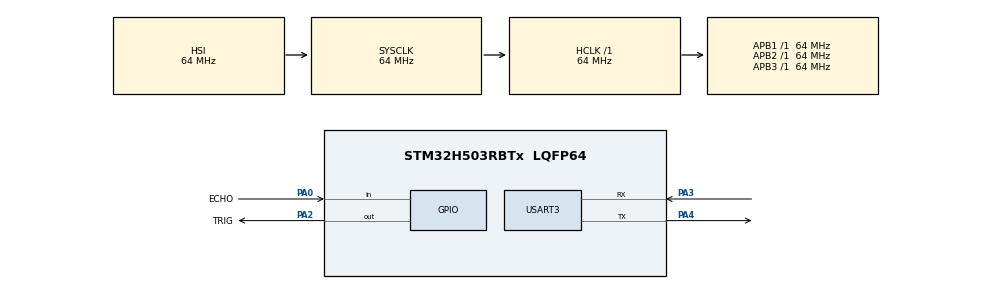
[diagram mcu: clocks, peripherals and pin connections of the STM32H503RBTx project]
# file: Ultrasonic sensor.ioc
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BOOTPATH.BootPathName=LEGACY
BOOTPATH.UserSelectedBootPath=LEGACY
Mcu.Family=STM32H5
Mcu.Name=STM32H503RBTx
Mcu.Package=LQFP64
NVIC.PriorityGroup=NVIC_PRIORITYGROUP_4
PA0.GPIO_Label=ECHO
PA0.Signal=GPIO_Input
PA2.GPIO_Label=TRIG
PA2.Signal=GPIO_Output
PA3.Mode=Asynchronous
PA3.Signal=USART3_RX
PA4.Mode=Asynchronous
PA4.Signal=USART3_TX
ProjectManager.HeapSize=0x200
ProjectManager.StackSize=0x400
ProjectManager.TargetToolchain=STM32CubeIDE
RCC.ADCFreq_Value=64000000
RCC.AHBFreq_Value=64000000
RCC.APB1Freq_Value=64000000
RCC.APB1TimFreq_Value=64000000
RCC.APB2Freq_Value=64000000
RCC.APB2TimFreq_Value=64000000
RCC.APB3Freq_Value=64000000
RCC.CSI_VALUE=4000000
RCC.CortexFreq_Value=64000000
RCC.EPOD_VALUE=4000000
RCC.HCLKFreq_Value=64000000
RCC.HSE_VALUE=24000000
RCC.HSI48_VALUE=48000000
RCC.HSIDiv=RCC_HSI_DIV1
RCC.HSI_VALUE=64000000
RCC.LSE_VALUE=32768
RCC.LSIRC_VALUE=32000
RCC.PLLN=32
RCC.SYSCLKFreq_VALUE=64000000
RCC.USBFreq_Value=48000000
RCC.VCOOutputFreq_Value=128000000
TIM3.Prescaler=64 -1
USART3.VirtualMode-Asynchronous=VM_ASYNC
VP_BOOTPATH_VS_BOOTPATH.Mode=BP_Activate
VP_CORTEX_M33_NS_VS_Hclk.Mode=Hclk_Mode
VP_MEMORYMAP_VS_MEMORYMAP.Mode=CurAppReg
VP_PWR_VS_DBSignals.Mode=DisableDeadBatterySignals
VP_PWR_VS_LPOM.Mode=PowerOptimisation
VP_PWR_VS_SECSignals.Mode=Security/Privilege
VP_TIM3_VS_ClockSourceINT.Mode=Internal
board=NUCLEO-H503RB

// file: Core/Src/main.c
/* USER CODE BEGIN Header */
/**
  ******************************************************************************
  * @file           : main.c
  * @brief          : Main program body
  ******************************************************************************
  * @attention
  *
  * Copyright (c) 2024 STMicroelectronics.
  * All rights reserved.
  *
  * This software is licensed under terms that can be found in the LICENSE file
  * in the root directory of this software component.
  * If no LICENSE file comes with this software, it is provided AS-IS.
  *
  ******************************************************************************
  */
/* USER CODE END Header */
#include "main.h"
#include "main_loop.hpp"
/* USER CODE BEGIN Includes */
#include <string.h>
#include <stdio.h>
/* USER CODE END Includes */

/* USER CODE BEGIN PTD */
#define usTIM TIM3
/* USER CODE END PTD */

TIM_HandleTypeDef htim3;
UART_HandleTypeDef huart3;

void SystemClock_Config(void);
static void MX_GPIO_Init(void);
static void MX_TIM3_Init(void);
static void MX_USART3_UART_Init(void);
/* USER CODE BEGIN PFP */
void usDelay(uint32_t uSec);
/* USER CODE END PFP */

/* USER CODE BEGIN 0 */
const float speedOfSound = 0.0343/2;
float distance;

char uartBuf[100];
/* USER CODE END 0 */

int main(void)
{

  /* USER CODE BEGIN 1 */
	uint32_t numTicks;
  /* USER CODE END 1 */

  /* MCU Configuration--------------------------------------------------------*/

  /* Reset of all peripherals, Initializes the Flash interface and the Systick. */
  HAL_Init();

  /* Configure the system clock */
  SystemClock_Config();

  /* Initialize all configured peripherals */
  MX_GPIO_Init();
  MX_TIM3_Init();
  MX_USART3_UART_Init();

  /* Infinite loop */
  while (1)
  {

    /* USER CODE BEGIN 3 */

	  main_loop_c();
  }
  /* USER CODE END 3 */
}

void SystemClock_Config(void)
{
  RCC_OscInitTypeDef RCC_OscInitStruct = {0};
  RCC_ClkInitTypeDef RCC_ClkInitStruct = {0};

  /** Configure the main internal regulator output voltage
  */
  __HAL_PWR_VOLTAGESCALING_CONFIG(PWR_REGULATOR_VOLTAGE_SCALE3);

  while(!__HAL_PWR_GET_FLAG(PWR_FLAG_VOSRDY)) {}

  /** Initializes the RCC Oscillators according to the specified parameters
  * in the RCC_OscInitTypeDef structure.
  */
  RCC_OscInitStruct.OscillatorType = RCC_OSCILLATORTYPE_HSI;
  RCC_OscInitStruct.HSIState = RCC_HSI_ON;
  RCC_OscInitStruct.HSIDiv = RCC_HSI_DIV1;
  RCC_OscInitStruct.HSICalibrationValue = RCC_HSICALIBRATION_DEFAULT;
  RCC_OscInitStruct.PLL.PLLState = RCC_PLL_NONE;
  if (HAL_RCC_OscConfig(&RCC_OscInitStruct) != HAL_OK)
  {
    Error_Handler();
  }

  /** Initializes the CPU, AHB and APB buses clocks
  */
  RCC_ClkInitStruct.ClockType = RCC_CLOCKTYPE_HCLK|RCC_CLOCKTYPE_SYSCLK
                              |RCC_CLOCKTYPE_PCLK1|RCC_CLOCKTYPE_PCLK2
                              |RCC_CLOCKTYPE_PCLK3;
  RCC_ClkInitStruct.SYSCLKSource = RCC_SYSCLKSOURCE_HSI;
  RCC_ClkInitStruct.AHBCLKDivider = RCC_SYSCLK_DIV1;
  RCC_ClkInitStruct.APB1CLKDivider = RCC_HCLK_DIV1;
  RCC_ClkInitStruct.APB2CLKDivider = RCC_HCLK_DIV1;
  RCC_ClkInitStruct.APB3CLKDivider = RCC_HCLK_DIV1;

  if (HAL_RCC_ClockConfig(&RCC_ClkInitStruct, FLASH_LATENCY_3) != HAL_OK)
  {
    Error_Handler();
  }

  /** Configure the programming delay
  */
  __HAL_FLASH_SET_PROGRAM_DELAY(FLASH_PROGRAMMING_DELAY_1);
}

static void MX_TIM3_Init(void)
{

  TIM_ClockConfigTypeDef sClockSourceConfig = {0};
  TIM_MasterConfigTypeDef sMasterConfig = {0};

  htim3.Instance = TIM3;
  htim3.Init.Prescaler = 64 -1;
  htim3.Init.CounterMode = TIM_COUNTERMODE_UP;
  htim3.Init.Period = 65535;
  htim3.Init.ClockDivision = TIM_CLOCKDIVISION_DIV1;
  htim3.Init.AutoReloadPreload = TIM_AUTORELOAD_PRELOAD_DISABLE;
  if (HAL_TIM_Base_Init(&htim3) != HAL_OK)
  {
    Error_Handler();
  }
  sClockSourceConfig.ClockSource = TIM_CLOCKSOURCE_INTERNAL;
  if (HAL_TIM_ConfigClockSource(&htim3, &sClockSourceConfig) != HAL_OK)
  {
    Error_Handler();
  }
  sMasterConfig.MasterOutputTrigger = TIM_TRGO_RESET;
  sMasterConfig.MasterSlaveMode = TIM_MASTERSLAVEMODE_DISABLE;
  if (HAL_TIMEx_MasterConfigSynchronization(&htim3, &sMasterConfig) != HAL_OK)
  {
    Error_Handler();
  }

}

static void MX_USART3_UART_Init(void)
{

  huart3.Instance = USART3;
  huart3.Init.BaudRate = 115200;
  huart3.Init.WordLength = UART_WORDLENGTH_8B;
  huart3.Init.StopBits = UART_STOPBITS_1;
  huart3.Init.Parity = UART_PARITY_NONE;
  huart3.Init.Mode = UART_MODE_TX_RX;
  huart3.Init.HwFlowCtl = UART_HWCONTROL_NONE;
  huart3.Init.OverSampling = UART_OVERSAMPLING_16;
  huart3.Init.OneBitSampling = UART_ONE_BIT_SAMPLE_DISABLE;
  huart3.Init.ClockPrescaler = UART_PRESCALER_DIV1;
  huart3.AdvancedInit.AdvFeatureInit = UART_ADVFEATURE_NO_INIT;
  if (HAL_UART_Init(&huart3) != HAL_OK)
  {
    Error_Handler();
  }
  if (HAL_UARTEx_SetTxFifoThreshold(&huart3, UART_TXFIFO_THRESHOLD_1_8) != HAL_OK)
  {
    Error_Handler();
  }
  if (HAL_UARTEx_SetRxFifoThreshold(&huart3, UART_RXFIFO_THRESHOLD_1_8) != HAL_OK)
  {
    Error_Handler();
  }
  if (HAL_UARTEx_DisableFifoMode(&huart3) != HAL_OK)
  {
    Error_Handler();
  }

}

static void MX_GPIO_Init(void)
{
  GPIO_InitTypeDef GPIO_InitStruct = {0};

  /* GPIO Ports Clock Enable */
  __HAL_RCC_GPIOA_CLK_ENABLE();

  /*Configure GPIO pin Output Level */
  HAL_GPIO_WritePin(TRIG_GPIO_Port, TRIG_Pin, GPIO_PIN_RESET);

  /*Configure GPIO pin : ECHO_Pin */
  GPIO_InitStruct.Pin = ECHO_Pin;
  GPIO_InitStruct.Mode = GPIO_MODE_INPUT;
  GPIO_InitStruct.Pull = GPIO_NOPULL;
  HAL_GPIO_Init(ECHO_GPIO_Port, &GPIO_InitStruct);

  /*Configure GPIO pin : TRIG_Pin */
  GPIO_InitStruct.Pin = TRIG_Pin;
  GPIO_InitStruct.Mode = GPIO_MODE_OUTPUT_PP;
  GPIO_InitStruct.Pull = GPIO_NOPULL;
  GPIO_InitStruct.Speed = GPIO_SPEED_FREQ_LOW;
  HAL_GPIO_Init(TRIG_GPIO_Port, &GPIO_InitStruct);

}

/* USER CODE BEGIN 4 */
void usDelay(uint32_t uSec)
{
	if(uSec < 2) uSec = 2;
	usTIM->ARR = uSec - 1; 	/*sets the value in the auto-reload register*/
	usTIM->EGR = 1; 			/*Re-initialises the timer*/
	usTIM->SR &= ~1; 		//Resets the flag
	usTIM->CR1 |= 1; 		//Enables the counter
	while((usTIM->SR&0x0001) != 1);
	usTIM->SR &= ~(0x0001);
}
/* USER CODE END 4 */

void Error_Handler(void)
{
  __disable_irq();
  while (1)
  {
  }
}
